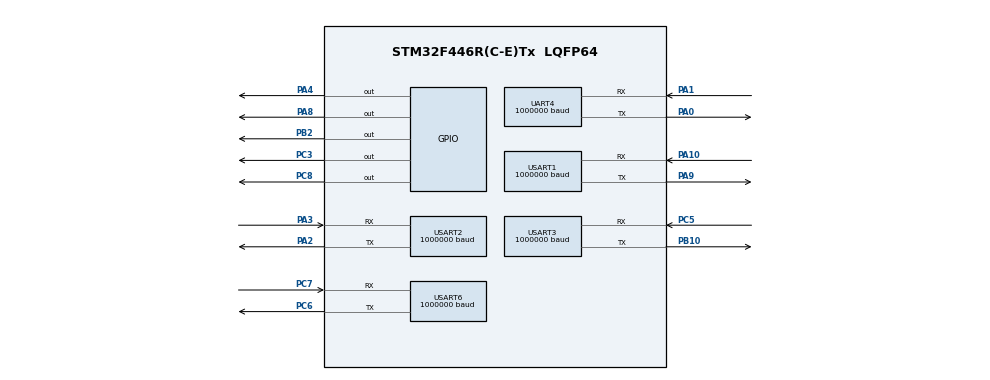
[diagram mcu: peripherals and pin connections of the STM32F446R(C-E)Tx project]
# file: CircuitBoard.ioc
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Mcu.Family=STM32F4
Mcu.Name=STM32F446R(C-E)Tx
Mcu.Package=LQFP64
NVIC.PriorityGroup=NVIC_PRIORITYGROUP_4
PA0-WKUP.Mode=Asynchronous
PA0-WKUP.Signal=UART4_TX
PA1.Mode=Asynchronous
PA1.Signal=UART4_RX
PA10.Mode=Asynchronous
PA10.Signal=USART1_RX
PA2.Mode=Asynchronous
PA2.Signal=USART2_TX
PA3.Mode=Asynchronous
PA3.Signal=USART2_RX
PA4.Signal=GPIO_Output
PA8.Signal=GPIO_Output
PA9.Mode=Asynchronous
PA9.Signal=USART1_TX
PB10.Mode=Asynchronous
PB10.Signal=USART3_TX
PB2.Signal=GPIO_Output
PC3.Signal=GPIO_Output
PC5.Mode=Asynchronous
PC5.Signal=USART3_RX
PC6.Mode=Asynchronous
PC6.Signal=USART6_TX
PC7.Mode=Asynchronous
PC7.Signal=USART6_RX
PC8.Signal=GPIO_Output
ProjectManager.HeapSize=0x200
ProjectManager.StackSize=0x400
ProjectManager.TargetToolchain=SW4STM32
RCC.CortexFreq_Value=16000000
RCC.USBFreq_Value=96000000
RCC.VCOOutputFreq_Value=192000000
UART4.BaudRate=1000000
UART4.VirtualMode=Asynchronous
USART1.BaudRate=1000000
USART1.VirtualMode=VM_ASYNC
USART2.BaudRate=1000000
USART2.VirtualMode=VM_ASYNC
USART3.BaudRate=1000000
USART3.VirtualMode=VM_ASYNC
USART6.BaudRate=1000000
USART6.VirtualMode=VM_ASYNC
board=CircuitBoard

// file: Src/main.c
/**
  ******************************************************************************
  * @file           : main.c
  * @brief          : Main program body
  ******************************************************************************
  ** This notice applies to any and all portions of this file
  * that are not between comment pairs USER CODE BEGIN and
  * USER CODE END. Other portions of this file, whether
  * inserted by the user or by software development tools
  * are owned by their respective copyright owners.
  *
  * COPYRIGHT(c) 2018 STMicroelectronics
  *
  * Redistribution and use in source and binary forms, with or without modification,
  * are permitted provided that the following conditions are met:
  *   1. Redistributions of source code must retain the above copyright notice,
  *      this list of conditions and the following disclaimer.
  *   2. Redistributions in binary form must reproduce the above copyright notice,
  *      this list of conditions and the following disclaimer in the documentation
  *      and/or other materials provided with the distribution.
  *   3. Neither the name of STMicroelectronics nor the names of its contributors
  *      may be used to endorse or promote products derived from this software
  *      without specific prior written permission.
  *
  * THIS SOFTWARE IS PROVIDED BY THE COPYRIGHT HOLDERS AND CONTRIBUTORS "AS IS"
  * AND ANY EXPRESS OR IMPLIED WARRANTIES, INCLUDING, BUT NOT LIMITED TO, THE
  * IMPLIED WARRANTIES OF MERCHANTABILITY AND FITNESS FOR A PARTICULAR PURPOSE ARE
  * DISCLAIMED. IN NO EVENT SHALL THE COPYRIGHT HOLDER OR CONTRIBUTORS BE LIABLE
  * FOR ANY DIRECT, INDIRECT, INCIDENTAL, SPECIAL, EXEMPLARY, OR CONSEQUENTIAL
  * DAMAGES (INCLUDING, BUT NOT LIMITED TO, PROCUREMENT OF SUBSTITUTE GOODS OR
  * SERVICES; LOSS OF USE, DATA, OR PROFITS; OR BUSINESS INTERRUPTION) HOWEVER
  * CAUSED AND ON ANY THEORY OF LIABILITY, WHETHER IN CONTRACT, STRICT LIABILITY,
  * OR TORT (INCLUDING NEGLIGENCE OR OTHERWISE) ARISING IN ANY WAY OUT OF THE USE
  * OF THIS SOFTWARE, EVEN IF ADVISED OF THE POSSIBILITY OF SUCH DAMAGE.
  *
  ******************************************************************************
  */
#include "main.h"
#include "stm32f4xx_hal.h"
#include "usart.h"
#include "gpio.h"

/* USER CODE BEGIN Includes */
#include "../Drivers/Dynamixel/DynamixelProtocolV1.h"
/* USER CODE END Includes */

/* USER CODE BEGIN PV */
/* Private variables ---------------------------------------------------------*/

/* USER CODE END PV */

void SystemClock_Config(void);

/* USER CODE BEGIN PFP */
/* Private function prototypes -----------------------------------------------*/

/* USER CODE END PFP */

int main(void)
{

  /* MCU Configuration----------------------------------------------------------*/

  /* Reset of all peripherals, Initializes the Flash interface and the Systick. */
  HAL_Init();

  /* Configure the system clock */
  SystemClock_Config();

  /* Initialize all configured peripherals */
  MX_GPIO_Init();
  MX_USART1_UART_Init();
  MX_USART6_UART_Init();
  MX_USART3_UART_Init();
  MX_USART2_UART_Init();
  MX_UART4_Init();
  /* USER CODE BEGIN 2 */

  Dynamixel_HandleTypeDef Motor1, Motor2, Motor3, Motor4, Motor5, Motor6, Motor7, Motor8, Motor9, Motor10, Motor11, Motor12;
	Dynamixel_Init(&Motor1, 1, &huart6, GPIOC, GPIO_PIN_8, AX12ATYPE);
	Dynamixel_Init(&Motor2, 2, &huart6, GPIOC, GPIO_PIN_8, AX12ATYPE);
	Dynamixel_Init(&Motor3, 3, &huart6, GPIOC, GPIO_PIN_8, AX12ATYPE);
	Dynamixel_Init(&Motor4, 4, &huart1, GPIOA, GPIO_PIN_8, AX12ATYPE);
	Dynamixel_Init(&Motor5, 5, &huart1, GPIOA, GPIO_PIN_8, AX12ATYPE);
	Dynamixel_Init(&Motor6, 6, &huart1, GPIOA, GPIO_PIN_8, AX12ATYPE);
	Dynamixel_Init(&Motor7, 7, &huart4, GPIOC, GPIO_PIN_3, AX12ATYPE);
	Dynamixel_Init(&Motor8, 8, &huart4, GPIOC, GPIO_PIN_3, AX12ATYPE);
	Dynamixel_Init(&Motor9, 9, &huart4, GPIOC, GPIO_PIN_3, AX12ATYPE);
	Dynamixel_Init(&Motor10, 10, &huart2, GPIOA, GPIO_PIN_4, AX12ATYPE);
	Dynamixel_Init(&Motor11, 11, &huart2, GPIOA, GPIO_PIN_4, AX12ATYPE);
	Dynamixel_Init(&Motor12, 12, &huart2, GPIOA, GPIO_PIN_4, AX12ATYPE);
//	Dynamixel_Init(&Motor13, 13, &huart3, GPIOB, GPIO_PIN_2, AX12ATYPE);
//	Dynamixel_Init(&Motor14, 14, &huart3, GPIOB, GPIO_PIN_2, AX12ATYPE);
//	Dynamixel_Init(&Motor15, 15, &huart3, GPIOB, GPIO_PIN_2, AX12ATYPE);
//	Dynamixel_Init(&Motor16, 16, &huart3, GPIOB, GPIO_PIN_2, AX12ATYPE);
//	Dynamixel_Init(&Motor17, 17, &huart3, GPIOB, GPIO_PIN_2, AX12ATYPE);
//	Dynamixel_Init(&Motor18, 18, &huart3, GPIOB, GPIO_PIN_2, AX12ATYPE);

	uint8_t numMotors = 12;
	Dynamixel_HandleTypeDef* arrDynamixel[12] = {&Motor1,&Motor2,&Motor3,&Motor4,
			&Motor5,&Motor6,&Motor7,&Motor8,&Motor9,&Motor10,&Motor11,&Motor12};

  for(uint8_t i = 0; i < numMotors; i++){
	  Dynamixel_SetStatusReturnLevel(arrDynamixel[i], 1);
	  HAL_Delay(10);

	  /* Set minimum delay return time (2 microseconds). */
	  Dynamixel_SetReturnDelayTime(arrDynamixel[i], 2);
	  HAL_Delay(10);

	  /* Impress current to motor to enable torque. */
	  Dynamixel_TorqueEnable(arrDynamixel[i], 1);
	  HAL_Delay(10);
  }

  /* USER CODE END 2 */

  /* Infinite loop */
  /* USER CODE BEGIN WHILE */
  while (1)
  {

	  for(uint8_t i = 0; i < numMotors; i++){
		  Dynamixel_SetGoalPosition(arrDynamixel[i], 150);
	  }
	  HAL_Delay(1000);
//	  for(uint8_t i = 0; i < 5; i++){
//		  Dynamixel_SetGoalPosition(arrDynamixel[i], 150);
//	  }
//	  HAL_Delay(1000);
  /* USER CODE END WHILE */

  }

}

void SystemClock_Config(void)
{

  RCC_OscInitTypeDef RCC_OscInitStruct;
  RCC_ClkInitTypeDef RCC_ClkInitStruct;

    /**Configure the main internal regulator output voltage
    */
  __HAL_RCC_PWR_CLK_ENABLE();

  __HAL_PWR_VOLTAGESCALING_CONFIG(PWR_REGULATOR_VOLTAGE_SCALE3);

    /**Initializes the CPU, AHB and APB busses clocks
    */
  RCC_OscInitStruct.OscillatorType = RCC_OSCILLATORTYPE_HSI;
  RCC_OscInitStruct.HSIState = RCC_HSI_ON;
  RCC_OscInitStruct.HSICalibrationValue = 16;
  RCC_OscInitStruct.PLL.PLLState = RCC_PLL_NONE;
  if (HAL_RCC_OscConfig(&RCC_OscInitStruct) != HAL_OK)
  {
    _Error_Handler(__FILE__, __LINE__);
  }

    /**Initializes the CPU, AHB and APB busses clocks
    */
  RCC_ClkInitStruct.ClockType = RCC_CLOCKTYPE_HCLK|RCC_CLOCKTYPE_SYSCLK
                              |RCC_CLOCKTYPE_PCLK1|RCC_CLOCKTYPE_PCLK2;
  RCC_ClkInitStruct.SYSCLKSource = RCC_SYSCLKSOURCE_HSI;
  RCC_ClkInitStruct.AHBCLKDivider = RCC_SYSCLK_DIV1;
  RCC_ClkInitStruct.APB1CLKDivider = RCC_HCLK_DIV1;
  RCC_ClkInitStruct.APB2CLKDivider = RCC_HCLK_DIV1;

  if (HAL_RCC_ClockConfig(&RCC_ClkInitStruct, FLASH_LATENCY_0) != HAL_OK)
  {
    _Error_Handler(__FILE__, __LINE__);
  }

    /**Configure the Systick interrupt time
    */
  HAL_SYSTICK_Config(HAL_RCC_GetHCLKFreq()/1000);

    /**Configure the Systick
    */
  HAL_SYSTICK_CLKSourceConfig(SYSTICK_CLKSOURCE_HCLK);

  /* SysTick_IRQn interrupt configuration */
  HAL_NVIC_SetPriority(SysTick_IRQn, 0, 0);
}

void _Error_Handler(char *file, int line)
{
  while(1)
  {
  }
}

/************************ (C) COPYRIGHT STMicroelectronics *****END OF FILE****/
